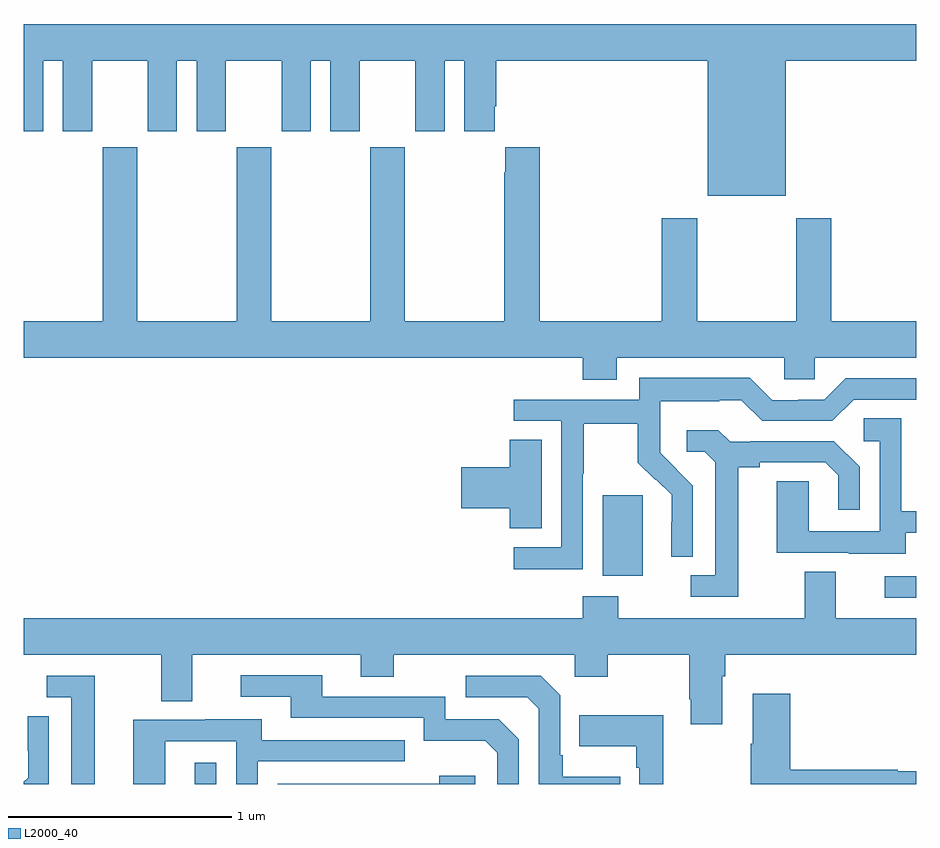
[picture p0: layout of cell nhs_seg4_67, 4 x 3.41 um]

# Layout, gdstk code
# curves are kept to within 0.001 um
import gdstk
lib = gdstk.Library(unit=1e-6, precision=1e-09)
def R(c, l, rs):  # rectangles x0, y0, x1, y1
    for r in rs: c.add(gdstk.rectangle(r[:2], r[2:], *l))
def P(c, l, *ps):  # polygons
    for p in ps: c.add(gdstk.Polygon(p, *l))
L2000_40 = (2000, 40)

nhs_seg4_67 = lib.new_cell('nhs_seg4_67')
R(nhs_seg4_67, L2000_40, [(113.765,802.9,113.862,802.996), (116.859,803.736,117,803.832), (115.595,803.834,115.774,804.195)])
P(nhs_seg4_67, L2000_40, [(116.416,806.144),(117,806.144),(117,806.308),(113,806.308),(113,805.827),(113.086,805.827),(113.086,806.144),(113.174,806.144),(113.174,805.827),(113.305,805.827),(113.305,806.144),(113.555,806.144),(113.555,805.827),(113.686,805.827),(113.686,806.144),(113.774,806.144),(113.774,805.827),(113.905,805.827),(113.905,806.144),(114.155,806.144),(114.155,805.827),(114.286,805.827),(114.286,806.144),(114.374,806.144),(114.374,805.827),(114.505,805.827),(114.505,806.144),(114.755,806.144),(114.755,805.827),(114.886,805.827),(114.886,806.144),(114.974,806.144),(114.974,805.827),(115.111,805.827),(115.111,805.939),(115.118,805.939),(115.118,806.144),(116.066,806.144),(116.066,805.538),(116.416,805.538)],
  [(115.657,804.812),(116.409,804.812),(116.409,804.714),(116.547,804.714),(116.547,804.812),(117,804.812),(117,804.976),(116.619,804.976),(116.619,805.438),(116.464,805.438),(116.464,804.976),(116.019,804.976),(116.019,805.438),(115.859,805.438),(115.859,804.976),(115.313,804.976),(115.313,805.756),(115.157,805.756),(115.157,805.643),(115.153,805.643),(115.153,804.976),(114.708,804.976),(114.708,805.756),(114.553,805.756),(114.553,804.976),(114.108,804.976),(114.108,805.756),(113.953,805.756),(113.953,804.976),(113.508,804.976),(113.508,805.756),(113.353,805.756),(113.353,804.976),(113,804.976),(113,804.812),(115.505,804.812),(115.505,804.713),(115.657,804.713)],
  [(115.506,804.292),(115.509,804.292),(115.509,804.516),(115.753,804.516),(115.753,804.341),(115.83,804.264),(115.833,804.267),(115.904,804.197),(115.904,804.074),(115.902,804.074),(115.902,803.92),(115.998,803.92),(115.998,804.238),(115.852,804.386),(115.852,804.483),(115.854,804.483),(115.854,804.617),(116.117,804.617),(116.117,804.621),(116.217,804.621),(116.31,804.528),(116.625,804.528),(116.721,804.624),(117,804.624),(117,804.72),(116.685,804.72),(116.589,804.624),(116.471,804.624),(116.471,804.621),(116.355,804.621),(116.255,804.721),(115.758,804.721),(115.758,804.624),(115.197,804.624),(115.197,804.528),(115.41,804.528),(115.41,803.961),(115.197,803.961),(115.197,803.863),(115.506,803.863)],
  [(116.953,804.027),(117,804.027),(117,804.123),(116.934,804.123),(116.934,804.539),(116.766,804.539),(116.766,804.438),(116.838,804.438),(116.838,804.033),(116.52,804.033),(116.52,804.257),(116.375,804.257),(116.375,803.937),(116.699,803.937),(116.699,803.933),(116.953,803.933)],
  [(116.203,804.32),(116.299,804.32),(116.299,804.342),(116.594,804.342),(116.651,804.285),(116.651,804.129),(116.748,804.129),(116.748,804.322),(116.632,804.438),(116.26,804.438),(116.26,804.435),(116.166,804.435),(116.114,804.487),(115.971,804.487),(115.971,804.39),(116.052,804.39),(116.099,804.343),(116.099,803.835),(115.989,803.835),(115.989,803.739),(116.203,803.739)],
  [(115.321,804.443),(115.178,804.443),(115.178,804.32),(114.96,804.32),(114.96,804.137),(115.178,804.137),(115.178,804.046),(115.321,804.046)],
  [(116.131,803.384),(116.144,803.384),(116.144,803.48),(117,803.48),(117,803.644),(116.641,803.644),(116.641,803.852),(116.501,803.852),(116.501,803.644),(115.665,803.644),(115.665,803.743),(115.505,803.743),(115.505,803.644),(113,803.644),(113,803.48),(113.615,803.48),(113.615,803.272),(113.755,803.272),(113.755,803.48),(114.509,803.48),(114.509,803.381),(114.657,803.381),(114.657,803.48),(115.47,803.48),(115.47,803.381),(115.617,803.381),(115.617,803.48),(115.984,803.48),(115.984,803.281),(115.991,803.281),(115.991,803.169),(116.131,803.169)],
  [(115.218,803.1),(115.128,803.19),(114.888,803.19),(114.888,803.292),(114.337,803.292),(114.337,803.388),(113.973,803.388),(113.973,803.292),(114.197,803.292),(114.197,803.196),(114.792,803.196),(114.792,803.093),(115.069,803.093),(115.122,803.04),(115.122,802.9),(115.218,802.9)],
  [(113.317,803.385),(113.103,803.385),(113.103,803.289),(113.213,803.289),(113.213,802.9),(113.317,802.9)],
  [(115.673,802.933),(115.417,802.933),(115.417,803.029),(115.404,803.029),(115.404,803.298),(115.317,803.385),(114.981,803.385),(114.981,803.289),(115.257,803.289),(115.308,803.238),(115.308,802.9),(115.673,802.9)],
  [(117,802.957),(116.918,802.957),(116.918,802.964),(116.435,802.964),(116.435,803.305),(116.267,803.305),(116.267,803.081),(116.26,803.081),(116.26,802.9),(117,802.9)],
  [(115.867,803.209),(115.489,803.209),(115.489,803.069),(115.746,803.069),(115.746,802.973),(115.758,802.973),(115.758,802.9),(115.867,802.9)],
  [(113.112,803.204),(113.016,803.204),(113.016,803.05),(113.018,803.05),(113.018,802.928),(113,802.91),(113,802.9),(113.112,802.9)],
  [(113.634,803.091),(113.952,803.091),(113.952,802.9),(114.048,802.9),(114.048,803.001),(114.707,803.001),(114.707,803.097),(114.067,803.097),(114.067,803.191),(113.813,803.191),(113.813,803.187),(113.489,803.187),(113.489,802.9),(113.634,802.9)],
  [(115.024,802.936),(114.863,802.936),(114.863,802.902),(114.138,802.902),(114.138,802.9),(115.024,802.9)])

lib.write_gds('nhs_seg4_67.gds')
